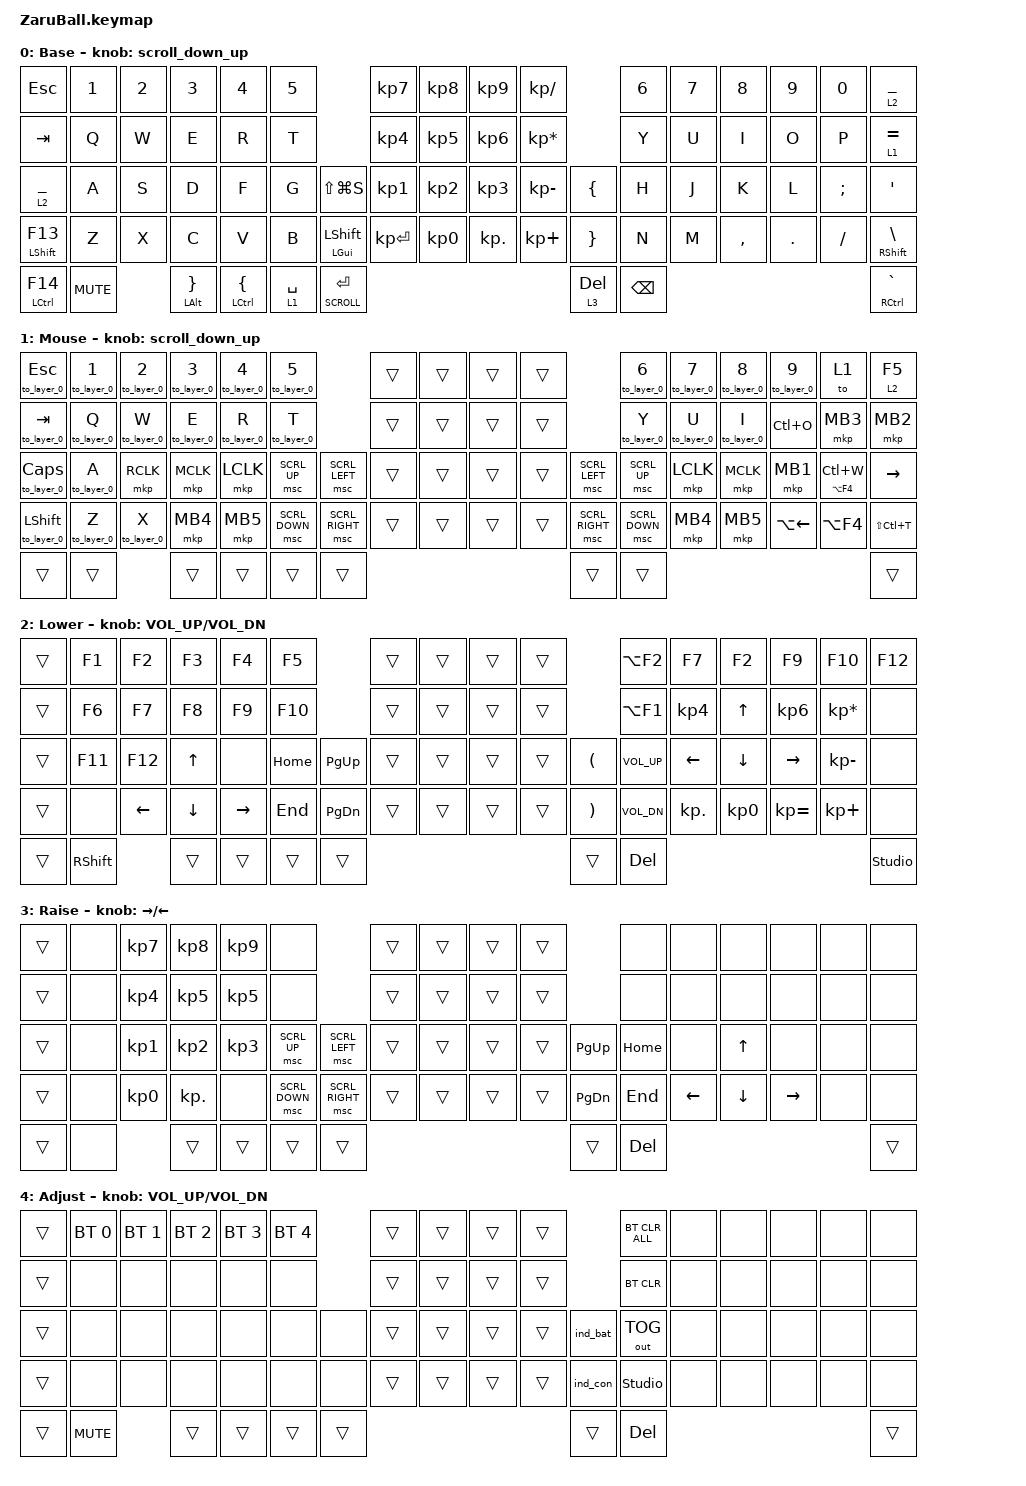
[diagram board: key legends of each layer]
//#include <dt-bindings/zmk/mouse.h>

#include <behaviors/rgbled_widget.dtsi>
#include <input/processors.dtsi>
#include <dt-bindings/zmk/input_transform.h>
#include <behaviors.dtsi>
#include <dt-bindings/zmk/bt.h>
#include <dt-bindings/zmk/keys.h>
#include <dt-bindings/zmk/outputs.h>
#include <dt-bindings/zmk/pointing.h>

#define BASE     0
#define MOUSE    1
#define LOWER    2
#define RAISE    3
#define ADJUST   4
#define SCROLL   2

// スクロール量の設定

#define ZMK_POINTING_DEFAULT_SCRL_VAL 100

&trackball_listener {
    input-processors = <
                         &zip_xy_transform (INPUT_TRANSFORM_XY_SWAP | INPUT_TRANSFORM_Y_INVERT | INPUT_TRANSFORM_X_INVERT)
                         &zip_temp_layer MOUSE 500
    >;

    scroller {
        layers = <SCROLL>;
        input-processors = <
                            &zip_xy_transform (INPUT_TRANSFORM_XY_SWAP | INPUT_TRANSFORM_X_INVERT)
                            &zip_xy_scaler 1 20
                            &zip_xy_to_scroll_mapper
        >;
    };
};

/ {
    conditional_layers {
        compatible = "zmk,conditional-layers";

        tri_layer {
            if-layers = <2 3>;
            then-layer = <4>;
        };
    };
};

/ {
    behaviors {
        // スクロール用のbehaviorの設定

        scroll_down_up: behavior_sensor_rotate_mouse_wheel_down_up {
            compatible = "zmk,behavior-sensor-rotate";
            #sensor-binding-cells = <0>;
            bindings = <&msc SCRL_DOWN>, <&msc SCRL_UP>;

            tap-ms = <20>; // スクロールのタップ時間
        };

        td0: tap_dance_0 {
            compatible = "zmk,behavior-tap-dance";
            #binding-cells = <0>;
            tapping-term-ms = <200>;
            bindings = <&mt LALT LANG2>, <&mo RAISE>, <&mo MOUSE>;
        };

        td1: tap_dance_1 {
            compatible = "zmk,behavior-tap-dance";
            #binding-cells = <0>;
            tapping-term-ms = <200>;
            bindings = <&mt RCTL LANG1>, <&mo RAISE>, <&mo MOUSE>;
        };

        // Customed Hold-Tap for SandS

        SandS: SandS {
            compatible = "zmk,behavior-hold-tap";
            #binding-cells = <2>;
            flavor = "tap-unless-interrupted";
            tapping-term-ms = <500>;
            quick-tap-ms = <500>;
            bindings = <&kp>, <&kp>;

            display-name = "SandS";
        };
    };
};

&sl { release-after-ms = <250>; }; // time needed for double click (for mkp_exit_AML)
/ {
    macros {
        // When in AML, move to default layer when key (except mouse button) pressed

        to_layer_0: to_layer_0 {
            compatible = "zmk,behavior-macro-one-param";
            #binding-cells = <1>;
            bindings = <&tog MOUSE &macro_param_1to1 &kp MACRO_PLACEHOLDER>;
            label = "TO_layer_0";
        };

        // When LCLK pressed, exit AML (after 250ms cause by sticky layer

        mkp_exit_AML: mkp_exit_AML {
            compatible = "zmk,behavior-macro-one-param";
            #binding-cells = <1>;
            bindings =
                <&macro_press>,
                <&macro_param_1to1 &mkp MACRO_PLACEHOLDER>,
                <&macro_pause_for_release>,
                <&macro_release>,
                <&macro_param_1to1 &mkp MACRO_PLACEHOLDER>,
                <&macro_tap>,
                <&sl MOUSE>;

            label = "MKP_EXIT_AML";
        };
    };
};

/ {
    keymap {
        compatible = "zmk,keymap";

        base_layer {
            display-name = "Base";
            sensor-bindings = <&scroll_down_up>;
            bindings = <
&kp ESC               &kp N1      &kp N2  &kp N3                    &kp N4                &kp N5                                  &kp KP_N7     &kp KP_N8  &kp KP_N9   &kp KP_DIVIDE                       &kp NUMBER_6  &kp N7  &kp N8     &kp N9   &kp N0    &lt 2 UNDERSCORE
&kp TAB               &kp Q       &kp W   &kp E                     &kp R                 &kp T                                   &kp KP_N4     &kp KP_N5  &kp KP_N6   &kp KP_MULTIPLY                     &kp Y         &kp U   &kp I      &kp O    &kp P     &lt 1 EQUAL
&lt 2 UNDERSCORE      &kp A       &kp S   &kp D                     &kp F                 &kp G        &kp LS(LG(S))              &kp KP_N1     &kp KP_N2  &kp KP_N3   &kp KP_MINUS       &kp LEFT_BRACE   &kp H         &kp J   &kp K      &kp L    &kp SEMI  &kp SQT
&mt LEFT_SHIFT F13    &kp Z       &kp X   &kp C                     &kp V                 &kp B        &mt LEFT_GUI LEFT_SHIFT    &kp KP_ENTER  &kp KP_N0  &kp KP_DOT  &kp KP_PLUS        &kp RIGHT_BRACE  &kp N         &kp M   &kp COMMA  &kp DOT  &kp FSLH  &mt RIGHT_SHIFT BACKSLASH
&mt LEFT_CONTROL F14  &kp C_MUTE          &mt LEFT_ALT RIGHT_BRACE  &mt LCTRL LEFT_BRACE  &lt 1 SPACE  &lt SCROLL ENTER                                                                   &lt 3 DELETE     &kp BSPC                                            &mt RIGHT_CONTROL GRAVE
            >;
        };

        mouse_layer {
            display-name = "Mouse";
            sensor-bindings = <&scroll_down_up>;
            bindings = <
&to_layer_0 ESC     &to_layer_0 N1  &to_layer_0 N2  &to_layer_0 N3  &to_layer_0 N4  &to_layer_0 N5                     &trans  &trans  &trans  &trans                     &to_layer_0 N6  &to_layer_0 N7  &to_layer_0 N8  &to_layer_0 N9      &to 1             &lt 2 F5
&to_layer_0 TAB     &to_layer_0 Q   &to_layer_0 W   &to_layer_0 E   &to_layer_0 R   &to_layer_0 T                      &trans  &trans  &trans  &trans                     &to_layer_0 Y   &to_layer_0 U   &to_layer_0 I   &kp LC(O)           &mkp MB3          &mkp MB2
&to_layer_0 CAPS    &to_layer_0 A   &mkp RCLK       &mkp MCLK       &mkp LCLK       &msc SCRL_UP    &msc SCRL_LEFT     &trans  &trans  &trans  &trans    &msc SCRL_LEFT   &msc SCRL_UP    &mkp LCLK       &mkp MCLK       &mkp MB1            &mt LA(F4) LC(W)  &kp RIGHT_ARROW
&to_layer_0 LSHIFT  &to_layer_0 Z   &to_layer_0 X   &mkp MB4        &mkp MB5        &msc SCRL_DOWN  &msc SCRL_RIGHT    &trans  &trans  &trans  &trans    &msc SCRL_RIGHT  &msc SCRL_DOWN  &mkp MB4        &mkp MB5        &kp LA(LEFT_ARROW)  &kp LA(F4)        &kp LS(LC(T))
&trans              &trans                          &trans          &trans          &trans          &trans                                               &trans           &trans                                                                                &trans
            >;
        };

        lower_layer {
            display-name = "Lower";
            sensor-bindings = <&inc_dec_kp C_VOL_UP C_VOL_DN>;
            bindings = <
&trans  &kp F1     &kp F2    &kp F3    &kp F4     &kp F5                 &trans  &trans  &trans  &trans              &kp LA(F2)    &kp F7          &kp F2          &kp F9           &kp F10          &kp F12
&trans  &kp F6     &kp F7    &kp F8    &kp F9     &kp F10                &trans  &trans  &trans  &trans              &kp LA(F1)    &kp KP_N4       &kp UP_ARROW    &kp KP_N6        &kp KP_MULTIPLY  &none
&trans  &kp F11    &kp F12   &kp UP    &none      &kp HOME  &kp PG_UP    &trans  &trans  &trans  &trans    &kp LPAR  &kp C_VOL_UP  &kp LEFT_ARROW  &kp DOWN_ARROW  &kp RIGHT_ARROW  &kp KP_MINUS     &none
&trans  &none      &kp LEFT  &kp DOWN  &kp RIGHT  &kp END   &kp PG_DN    &trans  &trans  &trans  &trans    &kp RPAR  &kp C_VOL_DN  &kp KP_DOT      &kp KP_N0       &kp KP_EQUAL     &kp KP_PLUS      &none
&trans  &kp RSHFT            &trans    &trans     &trans    &trans                                         &trans    &kp DEL                                                                         &studio_unlock
            >;
        };

        raise_layer {
            display-name = "Raise";
            sensor-bindings = <&inc_dec_kp RIGHT LEFT>;
            bindings = <
&trans  &none  &kp KP_NUMBER_7  &kp KP_N8   &kp KP_N9  &none                              &trans  &trans  &trans  &trans               &none     &none     &none     &none      &none  &none
&trans  &none  &kp KP_N4        &kp KP_N5   &kp KP_N5  &none                              &trans  &trans  &trans  &trans               &none     &none     &none     &none      &none  &none
&trans  &none  &kp KP_N1        &kp KP_N2   &kp KP_N3  &msc SCRL_UP    &msc SCRL_LEFT     &trans  &trans  &trans  &trans    &kp PG_UP  &kp HOME  &none     &kp UP    &none      &none  &none
&trans  &none  &kp KP_N0        &kp KP_DOT  &none      &msc SCRL_DOWN  &msc SCRL_RIGHT    &trans  &trans  &trans  &trans    &kp PG_DN  &kp END   &kp LEFT  &kp DOWN  &kp RIGHT  &none  &none
&trans  &none                   &trans      &trans     &trans          &trans                                               &trans     &kp DEL                                         &trans
            >;
        };

        adjust_layer {
            display-name = "Adjust";
            sensor-bindings = <&inc_dec_kp C_VOL_UP C_VOL_DN>;
            bindings = <
&trans  &bt BT_SEL 0  &bt BT_SEL 1  &bt BT_SEL 2  &bt BT_SEL 3  &bt BT_SEL 4            &trans  &trans  &trans  &trans              &bt BT_CLR_ALL  &none  &none  &none  &none  &none
&trans  &none         &none         &none         &none         &none                   &trans  &trans  &trans  &trans              &bt BT_CLR      &none  &none  &none  &none  &none
&trans  &none         &none         &none         &none         &none         &none     &trans  &trans  &trans  &trans    &ind_bat  &out OUT_TOG    &none  &none  &none  &none  &none
&trans  &none         &none         &none         &none         &none         &none     &trans  &trans  &trans  &trans    &ind_con  &studio_unlock  &none  &none  &none  &none  &none
&trans  &kp C_MUTE                  &trans        &trans        &trans        &trans                                      &trans    &kp DEL                                     &trans
            >;
        };

        // Extra layer can be added in ZMK STUDIO

        extra1 { status = "reserved"; };

        extra2 { status = "reserved"; };
    };
};
